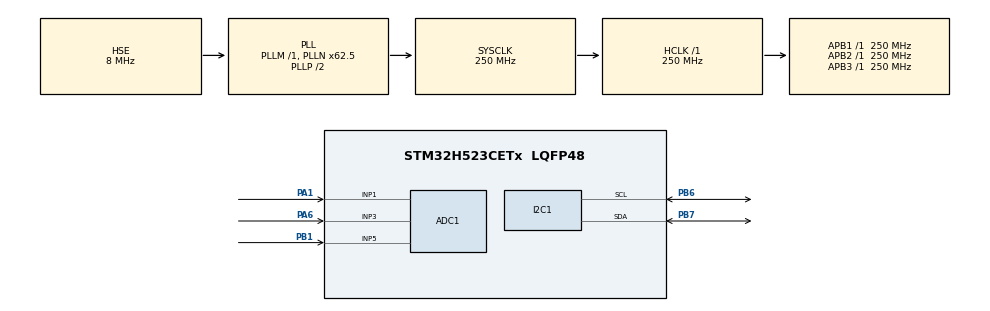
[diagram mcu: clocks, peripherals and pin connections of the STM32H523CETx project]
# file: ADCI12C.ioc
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ADC1.Channel-10\#ChannelRegularConversion=ADC_CHANNEL_3
ADC1.Channel-11\#ChannelRegularConversion=ADC_CHANNEL_5
ADC1.Channel-9\#ChannelRegularConversion=ADC_CHANNEL_1
ADC1.ContinuousConvMode=DISABLE
ADC1.DMAContinuousRequests=DISABLE
ADC1.EOCSelection=ADC_EOC_SINGLE_CONV
ADC1.ExternalTrigConv=ADC_SOFTWARE_START
ADC1.ExternalTrigConvEdge=ADC_EXTERNALTRIGCONVEDGE_NONE
ADC1.MonitoredBy-10\#ChannelRegularConversion=__NULL
ADC1.MonitoredBy-11\#ChannelRegularConversion=__NULL
ADC1.MonitoredBy-9\#ChannelRegularConversion=__NULL
ADC1.NbrOfConversion=1
ADC1.NbrOfConversionFlag=1
ADC1.OffsetNumber-10\#ChannelRegularConversion=ADC_OFFSET_NONE
ADC1.OffsetNumber-11\#ChannelRegularConversion=ADC_OFFSET_NONE
ADC1.OffsetNumber-9\#ChannelRegularConversion=ADC_OFFSET_NONE
ADC1.Rank-10\#ChannelRegularConversion=2
ADC1.Rank-11\#ChannelRegularConversion=3
ADC1.Rank-9\#ChannelRegularConversion=1
ADC1.SamplingTime-10\#ChannelRegularConversion=ADC_SAMPLETIME_640CYCLES_5
ADC1.SamplingTime-11\#ChannelRegularConversion=ADC_SAMPLETIME_640CYCLES_5
ADC1.SamplingTime-9\#ChannelRegularConversion=ADC_SAMPLETIME_640CYCLES_5
ADC1.ScanConvMode=ADC_SCAN_DISABLE
ADC1.master=1
BOOTPATH.BootPathName=LEGACY
BOOTPATH.UserSelectedBootPath=LEGACY
CORTEX_M33_NS.Number-Cortex_Memory_Protection_Unit_Region0_OTP_RO_AREAS_Settings=MPU_REGION_NUMBER0
CORTEX_M33_NS.default_mode_Activation=1
CORTEX_M33_NS.userName=CORTEX_M33
I2C1.OwnAddress=0x48
I2C1.Timing=0x60808CD3
Mcu.Family=STM32H5
Mcu.Name=STM32H523CETx
Mcu.Package=LQFP48
NVIC.PriorityGroup=NVIC_PRIORITYGROUP_4
PA1.Signal=ADCx_INP1
PA6.Signal=ADCx_INP3
PB1.Signal=ADCx_INP5
PB6.Mode=I2C
PB6.Signal=I2C1_SCL
PB7.Mode=I2C
PB7.Signal=I2C1_SDA
PH0-OSC_IN(PH0).Mode=HSE-External-Oscillator
PH0-OSC_IN(PH0).Signal=RCC_OSC_IN
PH1-OSC_OUT(PH1).Mode=HSE-External-Oscillator
PH1-OSC_OUT(PH1).Signal=RCC_OSC_OUT
ProjectManager.HeapSize=0x200
ProjectManager.StackSize=0x400
ProjectManager.TargetToolchain=CMake
RCC.ADCFreq_Value=250000000
RCC.AHBFreq_Value=250000000
RCC.APB1Freq_Value=250000000
RCC.APB1TimFreq_Value=250000000
RCC.APB2Freq_Value=250000000
RCC.APB2TimFreq_Value=250000000
RCC.APB3Freq_Value=250000000
RCC.CSI_VALUE=4000000
RCC.CortexFreq_Value=250000000
RCC.EPOD_VALUE=8000000
RCC.HCLKFreq_Value=250000000
RCC.HSE_VALUE=8000000
RCC.HSI48_VALUE=48000000
RCC.HSIDiv=RCC_HSI_DIV1
RCC.HSI_VALUE=64000000
RCC.LSE_VALUE=32768
RCC.LSIRC_VALUE=32000
RCC.PLLFRACN=4096
RCC.PLLN=62
RCC.PLLSourceVirtual=RCC_PLL1_SOURCE_HSE
RCC.SYSCLKFreq_VALUE=250000000
RCC.SYSCLKSource=RCC_SYSCLKSOURCE_PLLCLK
RCC.USBFreq_Value=48000000
RCC.VCOOutputFreq_Value=500000000
SH.ADCx_INP1.0=ADC1_INP1,IN1-Single-Ended
SH.ADCx_INP3.0=ADC1_INP3,IN3-Single-Ended
SH.ADCx_INP5.0=ADC1_INP5,IN5-Single-Ended
TIM1.Channel-Output\ Compare1\ No\ Output=TIM_CHANNEL_1
TIM1.Dithering=Enable
TIM1.Fractionnal_PeriodDither=0
TIM1.Integer_PeriodDither=150
TIM1.OCMode_1=TIM_OCMODE_TOGGLE
TIM1.PeriodNoDither=1
TIM1.TIM_MasterOutputTrigger=TIM_TRGO_OC1REF
TIM1.TIM_MasterSlaveMode=TIM_MASTERSLAVEMODE_ENABLE
VP_BOOTPATH_VS_BOOTPATH.Mode=BP_Activate
VP_CORTEX_M33_NS_VS_Hclk.Mode=Hclk_Mode
VP_ICACHE_VS_ICACHE.Mode=DirectMappedCache
VP_MEMORYMAP_VS_MEMORYMAP.Mode=CurAppReg
VP_PWR_VS_LPOM.Mode=PowerOptimisation
VP_PWR_VS_SECSignals.Mode=Security/Privilege
VP_TIM1_VS_no_output1.Mode=Output Compare1 No Output
board=custom

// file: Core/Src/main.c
/* USER CODE BEGIN Header */
/**
  ******************************************************************************
  * @file           : main.c
  * @brief          : Main program body
  ******************************************************************************
  * @attention
  *
  * Copyright (c) 2026 STMicroelectronics.
  * All rights reserved.
  *
  * This software is licensed under terms that can be found in the LICENSE file
  * in the root directory of this software component.
  * If no LICENSE file comes with this software, it is provided AS-IS.
  *
  ******************************************************************************
  */
/* USER CODE END Header */
#include "main.h"

ADC_HandleTypeDef hadc1;

I2C_HandleTypeDef hi2c1;

TIM_HandleTypeDef htim1;

/* USER CODE BEGIN PV */
volatile uint32_t adcValue[3]={0};
volatile uint8_t txData[6]={0};
uint8_t adcChannelIndex = 0;

/* USER CODE END PV */

void SystemClock_Config(void);
static void MPU_Config(void);
static void MX_GPIO_Init(void);
static void MX_I2C1_Init(void);
static void MX_ICACHE_Init(void);
static void MX_TIM1_Init(void);
static void MX_ADC1_Init(void);
/* USER CODE BEGIN PFP */
uint32_t ADC_Read_Channel(uint32_t channel);
/* USER CODE END PFP */

int main(void)
{

  /* MCU Configuration--------------------------------------------------------*/

  /* MPU Configuration--------------------------------------------------------*/
  MPU_Config();

  /* Reset of all peripherals, Initializes the Flash interface and the Systick. */
  HAL_Init();

  /* Configure the system clock */
  SystemClock_Config();

  /* Initialize all configured peripherals */
  MX_GPIO_Init();
  MX_I2C1_Init();
  MX_ICACHE_Init();
  MX_TIM1_Init();
  MX_ADC1_Init();
  /* USER CODE BEGIN 2 */
HAL_ADCEx_Calibration_Start(&hadc1, ADC_SINGLE_ENDED);
HAL_TIM_OC_Start(&htim1, TIM_CHANNEL_1);
//HAL_ADC_Start(&hadc1);

  /* USER CODE END 2 */

  /* Infinite loop */
  while (1)
  {

    /* USER CODE BEGIN 3 */

    adcValue[0] = ADC_Read_Channel(ADC_CHANNEL_1);
    adcValue[1] = ADC_Read_Channel(ADC_CHANNEL_3);
    adcValue[2] = ADC_Read_Channel(ADC_CHANNEL_5);

    for (int i = 0; i < 3; i++)
{
    txData[2*i]     = (uint8_t)(adcValue[i] & 0xFF);
    txData[2*i + 1] = (uint8_t)((adcValue[i] >> 8) & 0x0F);
}
  HAL_I2C_Slave_Transmit(&hi2c1, txData, sizeof(txData), 5);   /* 5 ms, no HAL_MAX_DELAY */
  }

  /* USER CODE END 3 */
}

void SystemClock_Config(void)
{
  RCC_OscInitTypeDef RCC_OscInitStruct = {0};
  RCC_ClkInitTypeDef RCC_ClkInitStruct = {0};

  /** Configure the main internal regulator output voltage
  */
  __HAL_PWR_VOLTAGESCALING_CONFIG(PWR_REGULATOR_VOLTAGE_SCALE0);

  while(!__HAL_PWR_GET_FLAG(PWR_FLAG_VOSRDY)) {}

  /** Initializes the RCC Oscillators according to the specified parameters
  * in the RCC_OscInitTypeDef structure.
  */
  RCC_OscInitStruct.OscillatorType = RCC_OSCILLATORTYPE_HSE;
  RCC_OscInitStruct.HSEState = RCC_HSE_ON;
  RCC_OscInitStruct.PLL.PLLState = RCC_PLL_ON;
  RCC_OscInitStruct.PLL.PLLSource = RCC_PLL1_SOURCE_HSE;
  RCC_OscInitStruct.PLL.PLLM = 1;
  RCC_OscInitStruct.PLL.PLLN = 62;
  RCC_OscInitStruct.PLL.PLLP = 2;
  RCC_OscInitStruct.PLL.PLLQ = 2;
  RCC_OscInitStruct.PLL.PLLR = 2;
  RCC_OscInitStruct.PLL.PLLRGE = RCC_PLL1_VCIRANGE_3;
  RCC_OscInitStruct.PLL.PLLVCOSEL = RCC_PLL1_VCORANGE_WIDE;
  RCC_OscInitStruct.PLL.PLLFRACN = 4096;
  if (HAL_RCC_OscConfig(&RCC_OscInitStruct) != HAL_OK)
  {
    Error_Handler();
  }

  /** Initializes the CPU, AHB and APB buses clocks
  */
  RCC_ClkInitStruct.ClockType = RCC_CLOCKTYPE_HCLK|RCC_CLOCKTYPE_SYSCLK
                              |RCC_CLOCKTYPE_PCLK1|RCC_CLOCKTYPE_PCLK2
                              |RCC_CLOCKTYPE_PCLK3;
  RCC_ClkInitStruct.SYSCLKSource = RCC_SYSCLKSOURCE_PLLCLK;
  RCC_ClkInitStruct.AHBCLKDivider = RCC_SYSCLK_DIV1;
  RCC_ClkInitStruct.APB1CLKDivider = RCC_HCLK_DIV1;
  RCC_ClkInitStruct.APB2CLKDivider = RCC_HCLK_DIV1;
  RCC_ClkInitStruct.APB3CLKDivider = RCC_HCLK_DIV1;

  if (HAL_RCC_ClockConfig(&RCC_ClkInitStruct, FLASH_LATENCY_5) != HAL_OK)
  {
    Error_Handler();
  }

  /** Configure the programming delay
  */
  __HAL_FLASH_SET_PROGRAM_DELAY(FLASH_PROGRAMMING_DELAY_2);
}

static void MX_ADC1_Init(void)
{

  ADC_ChannelConfTypeDef sConfig = {0};

  /** Common config
  */
  hadc1.Instance = ADC1;
  hadc1.Init.ClockPrescaler = ADC_CLOCK_ASYNC_DIV4;
  hadc1.Init.Resolution = ADC_RESOLUTION_12B;
  hadc1.Init.DataAlign = ADC_DATAALIGN_RIGHT;
  hadc1.Init.ScanConvMode = ADC_SCAN_DISABLE;
  hadc1.Init.EOCSelection = ADC_EOC_SINGLE_CONV;
  hadc1.Init.LowPowerAutoWait = DISABLE;
  hadc1.Init.ContinuousConvMode = DISABLE;
  hadc1.Init.NbrOfConversion = 1;
  hadc1.Init.DiscontinuousConvMode = DISABLE;
  hadc1.Init.ExternalTrigConv = ADC_SOFTWARE_START;
  hadc1.Init.ExternalTrigConvEdge = ADC_EXTERNALTRIGCONVEDGE_NONE;
  hadc1.Init.DMAContinuousRequests = DISABLE;
  hadc1.Init.SamplingMode = ADC_SAMPLING_MODE_NORMAL;
  hadc1.Init.Overrun = ADC_OVR_DATA_PRESERVED;
  hadc1.Init.OversamplingMode = DISABLE;
  if (HAL_ADC_Init(&hadc1) != HAL_OK)
  {
    Error_Handler();
  }

  /** Configure Regular Channel
  */
  sConfig.Channel = ADC_CHANNEL_1;
  sConfig.Rank = ADC_REGULAR_RANK_1;
  sConfig.SamplingTime = ADC_SAMPLETIME_640CYCLES_5;
  sConfig.SingleDiff = ADC_SINGLE_ENDED;
  sConfig.OffsetNumber = ADC_OFFSET_NONE;
  sConfig.Offset = 0;
  if (HAL_ADC_ConfigChannel(&hadc1, &sConfig) != HAL_OK)
  {
    Error_Handler();
  }

  /** Configure Regular Channel
  */
  sConfig.Channel = ADC_CHANNEL_3;
  sConfig.Rank = ADC_REGULAR_RANK_2;
  if (HAL_ADC_ConfigChannel(&hadc1, &sConfig) != HAL_OK)
  {
    Error_Handler();
  }

  /** Configure Regular Channel
  */
  sConfig.Channel = ADC_CHANNEL_5;
  sConfig.Rank = ADC_REGULAR_RANK_3;
  if (HAL_ADC_ConfigChannel(&hadc1, &sConfig) != HAL_OK)
  {
    Error_Handler();
  }

}

static void MX_I2C1_Init(void)
{

  hi2c1.Instance = I2C1;
  hi2c1.Init.Timing = 0x60808CD3;
  hi2c1.Init.OwnAddress1 = 144;
  hi2c1.Init.AddressingMode = I2C_ADDRESSINGMODE_7BIT;
  hi2c1.Init.DualAddressMode = I2C_DUALADDRESS_DISABLE;
  hi2c1.Init.OwnAddress2 = 0;
  hi2c1.Init.OwnAddress2Masks = I2C_OA2_NOMASK;
  hi2c1.Init.GeneralCallMode = I2C_GENERALCALL_DISABLE;
  hi2c1.Init.NoStretchMode = I2C_NOSTRETCH_DISABLE;
  if (HAL_I2C_Init(&hi2c1) != HAL_OK)
  {
    Error_Handler();
  }

  /** Configure Analogue filter
  */
  if (HAL_I2CEx_ConfigAnalogFilter(&hi2c1, I2C_ANALOGFILTER_ENABLE) != HAL_OK)
  {
    Error_Handler();
  }

  /** Configure Digital filter
  */
  if (HAL_I2CEx_ConfigDigitalFilter(&hi2c1, 0) != HAL_OK)
  {
    Error_Handler();
  }

}

static void MX_ICACHE_Init(void)
{

  /** Enable instruction cache in 1-way (direct mapped cache)
  */
  if (HAL_ICACHE_ConfigAssociativityMode(ICACHE_1WAY) != HAL_OK)
  {
    Error_Handler();
  }
  if (HAL_ICACHE_Enable() != HAL_OK)
  {
    Error_Handler();
  }

}

static void MX_TIM1_Init(void)
{

  TIM_MasterConfigTypeDef sMasterConfig = {0};
  TIM_OC_InitTypeDef sConfigOC = {0};
  TIM_BreakDeadTimeConfigTypeDef sBreakDeadTimeConfig = {0};

  htim1.Instance = TIM1;
  htim1.Init.Prescaler = 0;
  htim1.Init.CounterMode = TIM_COUNTERMODE_UP;
  htim1.Init.Period = 150;
  htim1.Init.ClockDivision = TIM_CLOCKDIVISION_DIV1;
  htim1.Init.RepetitionCounter = 0;
  htim1.Init.AutoReloadPreload = TIM_AUTORELOAD_PRELOAD_DISABLE;
  if (HAL_TIM_OC_Init(&htim1) != HAL_OK)
  {
    Error_Handler();
  }
  HAL_TIMEx_DitheringEnable(&htim1);

  /* rewrite ARR register when dither mode active */
  __HAL_TIM_SET_AUTORELOAD(&htim1, 2400);
  HAL_TIM_GenerateEvent(&htim1, TIM_EVENTSOURCE_UPDATE);
  sMasterConfig.MasterOutputTrigger = TIM_TRGO_OC1REF;
  sMasterConfig.MasterOutputTrigger2 = TIM_TRGO2_RESET;
  sMasterConfig.MasterSlaveMode = TIM_MASTERSLAVEMODE_ENABLE;
  if (HAL_TIMEx_MasterConfigSynchronization(&htim1, &sMasterConfig) != HAL_OK)
  {
    Error_Handler();
  }
  sConfigOC.OCMode = TIM_OCMODE_TOGGLE;
  sConfigOC.Pulse = 0;
  sConfigOC.OCPolarity = TIM_OCPOLARITY_HIGH;
  sConfigOC.OCNPolarity = TIM_OCNPOLARITY_HIGH;
  sConfigOC.OCFastMode = TIM_OCFAST_DISABLE;
  sConfigOC.OCIdleState = TIM_OCIDLESTATE_RESET;
  sConfigOC.OCNIdleState = TIM_OCNIDLESTATE_RESET;
  if (HAL_TIM_OC_ConfigChannel(&htim1, &sConfigOC, TIM_CHANNEL_1) != HAL_OK)
  {
    Error_Handler();
  }
  sBreakDeadTimeConfig.OffStateRunMode = TIM_OSSR_DISABLE;
  sBreakDeadTimeConfig.OffStateIDLEMode = TIM_OSSI_DISABLE;
  sBreakDeadTimeConfig.LockLevel = TIM_LOCKLEVEL_OFF;
  sBreakDeadTimeConfig.DeadTime = 0;
  sBreakDeadTimeConfig.BreakState = TIM_BREAK_DISABLE;
  sBreakDeadTimeConfig.BreakPolarity = TIM_BREAKPOLARITY_HIGH;
  sBreakDeadTimeConfig.BreakFilter = 0;
  sBreakDeadTimeConfig.BreakAFMode = TIM_BREAK_AFMODE_INPUT;
  sBreakDeadTimeConfig.Break2State = TIM_BREAK2_DISABLE;
  sBreakDeadTimeConfig.Break2Polarity = TIM_BREAK2POLARITY_HIGH;
  sBreakDeadTimeConfig.Break2Filter = 0;
  sBreakDeadTimeConfig.Break2AFMode = TIM_BREAK_AFMODE_INPUT;
  sBreakDeadTimeConfig.AutomaticOutput = TIM_AUTOMATICOUTPUT_DISABLE;
  if (HAL_TIMEx_ConfigBreakDeadTime(&htim1, &sBreakDeadTimeConfig) != HAL_OK)
  {
    Error_Handler();
  }

}

static void MX_GPIO_Init(void)
{

  /* GPIO Ports Clock Enable */
  __HAL_RCC_GPIOH_CLK_ENABLE();
  __HAL_RCC_GPIOA_CLK_ENABLE();
  __HAL_RCC_GPIOB_CLK_ENABLE();

}

/* USER CODE BEGIN 4 */
uint32_t ADC_Read_Channel(uint32_t channel) {
    ADC_ChannelConfTypeDef sConfig = {0};

    // Configure the selected channel to Rank 1
    sConfig.Channel = channel;
    sConfig.Rank = ADC_REGULAR_RANK_1;
    sConfig.SamplingTime = ADC_SAMPLETIME_640CYCLES_5; // Adjust for your STM32 family
    sConfig.SingleDiff = ADC_SINGLE_ENDED;
    sConfig.OffsetNumber = ADC_OFFSET_NONE;
    sConfig.Offset = 0;

    if (HAL_ADC_ConfigChannel(&hadc1, &sConfig) != HAL_OK) {
        Error_Handler();
    }

    if (HAL_ADC_Start(&hadc1) != HAL_OK) {
        Error_Handler();
    }

    if (HAL_ADC_PollForConversion(&hadc1, 100) != HAL_OK) {
        HAL_ADC_Stop(&hadc1);
        Error_Handler();
    }

    uint32_t value = HAL_ADC_GetValue(&hadc1);

    if (HAL_ADC_Stop(&hadc1) != HAL_OK) {
        Error_Handler();
    }

    return value;
}
/* USER CODE END 4 */

 /* MPU Configuration */

void MPU_Config(void)
{
  MPU_Region_InitTypeDef MPU_InitStruct = {0};
  MPU_Attributes_InitTypeDef MPU_AttributesInit = {0};

  /* Disables the MPU */
  HAL_MPU_Disable();

  /** Initializes and configures the Region 0 and the memory to be protected
  */
  MPU_InitStruct.Enable = MPU_REGION_ENABLE;
  MPU_InitStruct.Number = MPU_REGION_NUMBER0;
  MPU_InitStruct.BaseAddress = 0x08FFF000;
  MPU_InitStruct.LimitAddress = 0x08FFFFFF;
  MPU_InitStruct.AttributesIndex = MPU_ATTRIBUTES_NUMBER0;
  MPU_InitStruct.AccessPermission = MPU_REGION_ALL_RO;
  MPU_InitStruct.DisableExec = MPU_INSTRUCTION_ACCESS_DISABLE;
  MPU_InitStruct.IsShareable = MPU_ACCESS_NOT_SHAREABLE;

  HAL_MPU_ConfigRegion(&MPU_InitStruct);

  /** Initializes and configures the Attribute 0 and the memory to be protected
  */
  MPU_AttributesInit.Number = MPU_ATTRIBUTES_NUMBER0;
  MPU_AttributesInit.Attributes = INNER_OUTER(MPU_NOT_CACHEABLE);

  HAL_MPU_ConfigMemoryAttributes(&MPU_AttributesInit);
  /* Enables the MPU */
  HAL_MPU_Enable(MPU_PRIVILEGED_DEFAULT);

}

void Error_Handler(void)
{
  __disable_irq();
  while (1)
  {
  }
}
